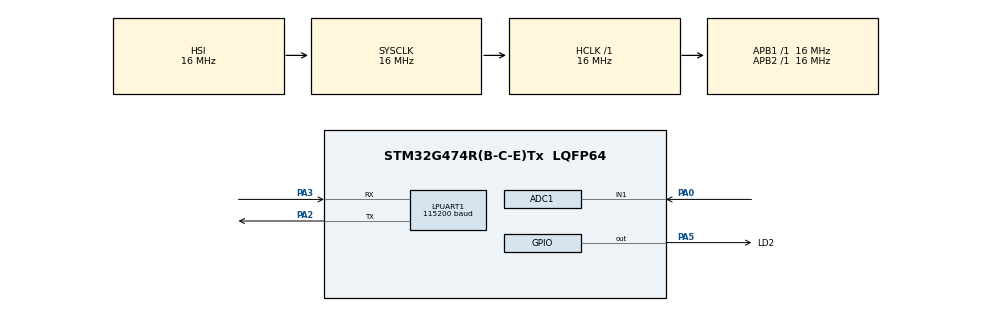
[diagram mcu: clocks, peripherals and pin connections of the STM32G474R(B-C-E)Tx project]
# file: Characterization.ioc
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ADC1.Channel-0\#ChannelRegularConversion=ADC_CHANNEL_1
ADC1.NbrOfConversionFlag=1
ADC1.OffsetNumber-0\#ChannelRegularConversion=ADC_OFFSET_NONE
ADC1.Rank-0\#ChannelRegularConversion=1
ADC1.SamplingTime-0\#ChannelRegularConversion=ADC_SAMPLETIME_2CYCLES_5
ADC1.master=1
LPUART1.BaudRate=115200
Mcu.Family=STM32G4
Mcu.Name=STM32G474R(B-C-E)Tx
Mcu.Package=LQFP64
NVIC.PriorityGroup=NVIC_PRIORITYGROUP_4
PA0.Mode=IN1-Single-Ended
PA0.Signal=ADC1_IN1
PA13.Mode=Serial_Wire
PA13.Signal=SYS_JTMS-SWDIO
PA14.Mode=Serial_Wire
PA14.Signal=SYS_JTCK-SWCLK
PA2.Mode=Asynchronous
PA2.Signal=LPUART1_TX
PA3.Mode=Asynchronous
PA3.Signal=LPUART1_RX
PA5.GPIO_Label=LD2
PA5.Signal=GPIO_Output
ProjectManager.HeapSize=0x200
ProjectManager.StackSize=0x400
ProjectManager.TargetToolchain=STM32CubeIDE
RCC.AHBFreq_Value=16000000
RCC.APB1Freq_Value=16000000
RCC.APB1TimFreq_Value=16000000
RCC.APB2Freq_Value=16000000
RCC.APB2TimFreq_Value=16000000
RCC.CortexFreq_Value=16000000
RCC.EXTERNAL_CLOCK_VALUE=12288000
RCC.HCLKFreq_Value=16000000
RCC.HSE_VALUE=8000000
RCC.HSI48_VALUE=48000000
RCC.HSI_VALUE=16000000
RCC.LSE_VALUE=32768
RCC.SYSCLKFreq_VALUE=16000000
RCC.USBFreq_Value=64000000
RCC.VCOOutputFreq_Value=128000000
VP_SYS_VS_DBSignals.Mode=DisableDeadBatterySignals
board=custom

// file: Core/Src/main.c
/* USER CODE BEGIN Header */
/**
  ******************************************************************************
  * @file           : main.c
  * @brief          : Main program body
  ******************************************************************************
  * @attention
  *
  * Copyright (c) 2026 STMicroelectronics.
  * All rights reserved.
  *
  * This software is licensed under terms that can be found in the LICENSE file
  * in the root directory of this software component.
  * If no LICENSE file comes with this software, it is provided AS-IS.
  *
  ******************************************************************************
  */
/* USER CODE END Header */
#include "main.h"

/* USER CODE BEGIN Includes */
#include <stdio.h>
/* USER CODE END Includes */

ADC_HandleTypeDef hadc1;

UART_HandleTypeDef hlpuart1;

void SystemClock_Config(void);
static void MX_GPIO_Init(void);
static void MX_LPUART1_UART_Init(void);
static void MX_ADC1_Init(void);

/* USER CODE BEGIN 0 */

void measure_and_transmit(ADC_HandleTypeDef *hadc, UART_HandleTypeDef *uart, uint8_t cmd) {
	if (cmd == 'm') { // for "Measure" lol
	  HAL_ADC_Start(hadc);
	  if (HAL_ADC_PollForConversion(hadc, 10) == HAL_OK) {
		  uint16_t val = (uint16_t) HAL_ADC_GetValue(hadc);
		  char msg[16];
		  int len = snprintf(msg, sizeof(msg), ":%u\r\n", val);

		  HAL_UART_Transmit(uart, (uint8_t *)msg, len, 100);
	  }
	  HAL_ADC_Stop(hadc);
	}
}

/* USER CODE END 0 */

int main(void)
{

  /* MCU Configuration--------------------------------------------------------*/

  /* Reset of all peripherals, Initializes the Flash interface and the Systick. */
  HAL_Init();

  /* Configure the system clock */
  SystemClock_Config();

  /* Initialize all configured peripherals */
  MX_GPIO_Init();
  MX_LPUART1_UART_Init();
  MX_ADC1_Init();
  /* USER CODE BEGIN 2 */
  uint8_t cmd;
  /* USER CODE END 2 */

  /* Infinite loop */
  /* USER CODE BEGIN WHILE */
  while (1)
  {

	  if (HAL_UART_Receive(&hlpuart1, &cmd, 1, HAL_MAX_DELAY) == HAL_OK) {
		  HAL_GPIO_TogglePin(LD2_GPIO_Port, LD2_Pin);
	  	  if (cmd =='m') {
			  measure_and_transmit(&hadc1, &hlpuart1, cmd);
		  }
	  }

    /* USER CODE END WHILE */

  }
}

void SystemClock_Config(void)
{
  RCC_OscInitTypeDef RCC_OscInitStruct = {0};
  RCC_ClkInitTypeDef RCC_ClkInitStruct = {0};

  /** Configure the main internal regulator output voltage
  */
  HAL_PWREx_ControlVoltageScaling(PWR_REGULATOR_VOLTAGE_SCALE1);

  /** Initializes the RCC Oscillators according to the specified parameters
  * in the RCC_OscInitTypeDef structure.
  */
  RCC_OscInitStruct.OscillatorType = RCC_OSCILLATORTYPE_HSI;
  RCC_OscInitStruct.HSIState = RCC_HSI_ON;
  RCC_OscInitStruct.HSICalibrationValue = RCC_HSICALIBRATION_DEFAULT;
  RCC_OscInitStruct.PLL.PLLState = RCC_PLL_NONE;
  if (HAL_RCC_OscConfig(&RCC_OscInitStruct) != HAL_OK)
  {
    Error_Handler();
  }

  /** Initializes the CPU, AHB and APB buses clocks
  */
  RCC_ClkInitStruct.ClockType = RCC_CLOCKTYPE_HCLK|RCC_CLOCKTYPE_SYSCLK
                              |RCC_CLOCKTYPE_PCLK1|RCC_CLOCKTYPE_PCLK2;
  RCC_ClkInitStruct.SYSCLKSource = RCC_SYSCLKSOURCE_HSI;
  RCC_ClkInitStruct.AHBCLKDivider = RCC_SYSCLK_DIV1;
  RCC_ClkInitStruct.APB1CLKDivider = RCC_HCLK_DIV1;
  RCC_ClkInitStruct.APB2CLKDivider = RCC_HCLK_DIV1;

  if (HAL_RCC_ClockConfig(&RCC_ClkInitStruct, FLASH_LATENCY_0) != HAL_OK)
  {
    Error_Handler();
  }
}

static void MX_ADC1_Init(void)
{

  ADC_MultiModeTypeDef multimode = {0};
  ADC_ChannelConfTypeDef sConfig = {0};

  /** Common config
  */
  hadc1.Instance = ADC1;
  hadc1.Init.ClockPrescaler = ADC_CLOCK_SYNC_PCLK_DIV2;
  hadc1.Init.Resolution = ADC_RESOLUTION_12B;
  hadc1.Init.DataAlign = ADC_DATAALIGN_RIGHT;
  hadc1.Init.GainCompensation = 0;
  hadc1.Init.ScanConvMode = ADC_SCAN_DISABLE;
  hadc1.Init.EOCSelection = ADC_EOC_SINGLE_CONV;
  hadc1.Init.LowPowerAutoWait = DISABLE;
  hadc1.Init.ContinuousConvMode = DISABLE;
  hadc1.Init.NbrOfConversion = 1;
  hadc1.Init.DiscontinuousConvMode = DISABLE;
  hadc1.Init.ExternalTrigConv = ADC_SOFTWARE_START;
  hadc1.Init.ExternalTrigConvEdge = ADC_EXTERNALTRIGCONVEDGE_NONE;
  hadc1.Init.DMAContinuousRequests = DISABLE;
  hadc1.Init.Overrun = ADC_OVR_DATA_PRESERVED;
  hadc1.Init.OversamplingMode = DISABLE;
  if (HAL_ADC_Init(&hadc1) != HAL_OK)
  {
    Error_Handler();
  }

  /** Configure the ADC multi-mode
  */
  multimode.Mode = ADC_MODE_INDEPENDENT;
  if (HAL_ADCEx_MultiModeConfigChannel(&hadc1, &multimode) != HAL_OK)
  {
    Error_Handler();
  }

  /** Configure Regular Channel
  */
  sConfig.Channel = ADC_CHANNEL_1;
  sConfig.Rank = ADC_REGULAR_RANK_1;
  sConfig.SamplingTime = ADC_SAMPLETIME_2CYCLES_5;
  sConfig.SingleDiff = ADC_SINGLE_ENDED;
  sConfig.OffsetNumber = ADC_OFFSET_NONE;
  sConfig.Offset = 0;
  if (HAL_ADC_ConfigChannel(&hadc1, &sConfig) != HAL_OK)
  {
    Error_Handler();
  }

}

static void MX_LPUART1_UART_Init(void)
{

  hlpuart1.Instance = LPUART1;
  hlpuart1.Init.BaudRate = 115200;
  hlpuart1.Init.WordLength = UART_WORDLENGTH_8B;
  hlpuart1.Init.StopBits = UART_STOPBITS_1;
  hlpuart1.Init.Parity = UART_PARITY_NONE;
  hlpuart1.Init.Mode = UART_MODE_TX_RX;
  hlpuart1.Init.HwFlowCtl = UART_HWCONTROL_NONE;
  hlpuart1.Init.OneBitSampling = UART_ONE_BIT_SAMPLE_DISABLE;
  hlpuart1.Init.ClockPrescaler = UART_PRESCALER_DIV1;
  hlpuart1.AdvancedInit.AdvFeatureInit = UART_ADVFEATURE_NO_INIT;
  if (HAL_UART_Init(&hlpuart1) != HAL_OK)
  {
    Error_Handler();
  }
  if (HAL_UARTEx_SetTxFifoThreshold(&hlpuart1, UART_TXFIFO_THRESHOLD_1_8) != HAL_OK)
  {
    Error_Handler();
  }
  if (HAL_UARTEx_SetRxFifoThreshold(&hlpuart1, UART_RXFIFO_THRESHOLD_1_8) != HAL_OK)
  {
    Error_Handler();
  }
  if (HAL_UARTEx_DisableFifoMode(&hlpuart1) != HAL_OK)
  {
    Error_Handler();
  }

}

static void MX_GPIO_Init(void)
{
  GPIO_InitTypeDef GPIO_InitStruct = {0};

  /* GPIO Ports Clock Enable */
  __HAL_RCC_GPIOA_CLK_ENABLE();

  /*Configure GPIO pin Output Level */
  HAL_GPIO_WritePin(LD2_GPIO_Port, LD2_Pin, GPIO_PIN_RESET);

  /*Configure GPIO pin : LD2_Pin */
  GPIO_InitStruct.Pin = LD2_Pin;
  GPIO_InitStruct.Mode = GPIO_MODE_OUTPUT_PP;
  GPIO_InitStruct.Pull = GPIO_NOPULL;
  GPIO_InitStruct.Speed = GPIO_SPEED_FREQ_LOW;
  HAL_GPIO_Init(LD2_GPIO_Port, &GPIO_InitStruct);

}

void Error_Handler(void)
{
  __disable_irq();
  while (1)
  {
  }
}
